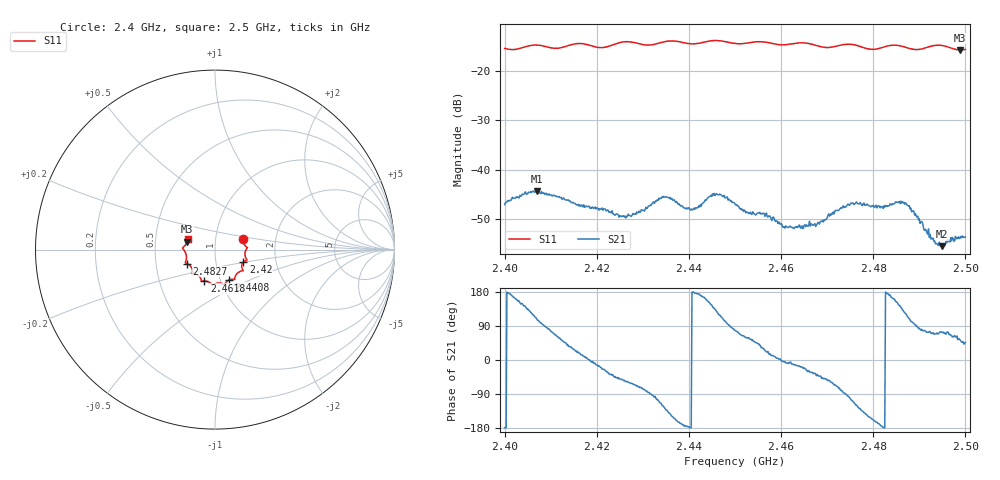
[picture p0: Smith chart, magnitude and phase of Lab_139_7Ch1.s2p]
# Hz S RI R 50
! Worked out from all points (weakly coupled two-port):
!   601 points, 2.4 GHz to 2.5 GHz, reference 50 ohm
!   highest |S21| = -44.32 dB at 2.407 GHz (marker M1); lowest = -55.5 dB at 2.4948 GHz (marker M2)
!   lowest |S11| = -15.8 dB at 2.4988 GHz (marker M3), VSWR 1.38, Z = 36.4 + j3.33 ohm
!   |S11| at or under -10 dB: start of sweep to end of sweep
!   S12 and S22 are empty: the file has one direction only
!   S11 on the Smith chart (normalised r, x): 2.4 GHz: 1.36, +0.17; 2.42 GHz: 1.36, -0.19; 2.4408 GHz: 1.10, -0.39; 2.4618 GHz: 0.84, -0.30; 2.4827 GHz: 0.72, -0.12; 2.5 GHz: 0.73, +0.09
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2.4e9  0.1559 0.0618  -0.00441 -9.61e-05  0 0  0 0
2.407e9  0.1812 0.011  -0.00183 0.0058  0 0  0 0
2.411333e9  0.1667 -0.0215  0.00246 0.00474  0 0  0 0
2.416667e9  0.1782 -0.0592  0.00426 0.00102  0 0  0 0
2.42e9  0.1581 -0.0694  0.00399 -0.000945  0 0  0 0
2.426167e9  0.1573 -0.1173  0.00188 -0.00281  0 0  0 0
2.433333e9  0.112 -0.1519  -0.00138 -0.00468  0 0  0 0
2.4355e9  0.1107 -0.1652  -0.00385 -0.0035  0 0  0 0
2.440833e9  0.0789 -0.169  -0.00396 4.83e-05  0 0  0 0
2.445667e9  0.0521 -0.1948  -0.00379 0.00393  0 0  0 0
2.45e9  0.0277 -0.1858  0.000923 0.0044  0 0  0 0
2.461833e9  -0.0602 -0.1751  0.00264 -0.000348  0 0  0 0
2.466667e9  -0.077 -0.1685  0.00235 -0.00152  0 0  0 0
2.475e9  -0.1267 -0.1347  -0.000861 -0.00441  0 0  0 0
2.479667e9  -0.1325 -0.0972  -0.0039 -0.00177  0 0  0 0
2.482667e9  -0.1572 -0.0778  -0.00433 6.95e-05  0 0  0 0
2.483333e9  -0.1614 -0.0764  -0.00425 0.00052  0 0  0 0
2.487333e9  -0.1605 -0.0573  -0.00199 0.00389  0 0  0 0
2.493e9  -0.1787 0.00445  0.000632 0.00192  0 0  0 0
2.494833e9  -0.1794 0.0107  0.000483 0.00161  0 0  0 0
2.498833e9  -0.1552 0.0444  0.00121 0.00162  0 0  0 0
2.5e9  -0.1519 0.0616  0.00144 0.00149  0 0  0 0
